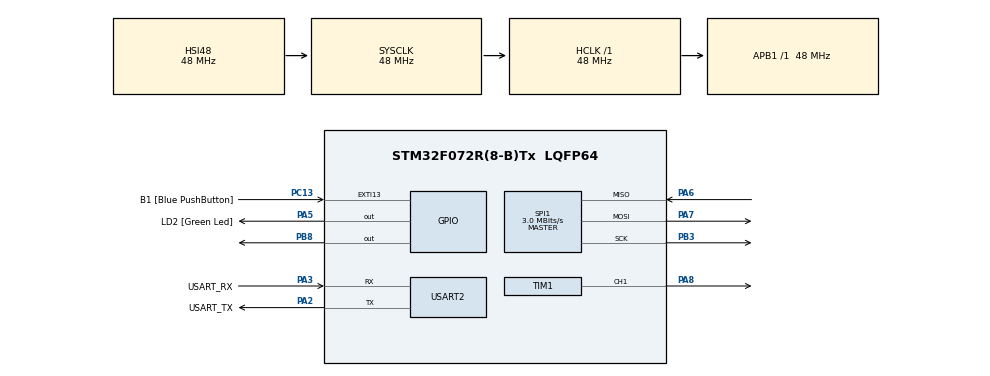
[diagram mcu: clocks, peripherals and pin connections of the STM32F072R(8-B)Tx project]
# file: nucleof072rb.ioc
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Mcu.Family=STM32F0
Mcu.Name=STM32F072R(8-B)Tx
Mcu.Package=LQFP64
PA13.GPIO_Label=TMS
PA13.Mode=Serial_Wire
PA13.Signal=SYS_SWDIO
PA14.GPIO_Label=TCK
PA14.Mode=Serial_Wire
PA14.Signal=SYS_SWCLK
PA2.GPIO_Label=USART_TX
PA2.GPIO_Mode=GPIO_MODE_AF_PP
PA2.GPIO_PuPd=GPIO_NOPULL
PA2.GPIO_Speed=GPIO_SPEED_FREQ_LOW
PA2.Mode=Asynchronous
PA2.Signal=USART2_TX
PA3.GPIO_Label=USART_RX
PA3.GPIO_Mode=GPIO_MODE_AF_PP
PA3.GPIO_PuPd=GPIO_NOPULL
PA3.GPIO_Speed=GPIO_SPEED_FREQ_LOW
PA3.Mode=Asynchronous
PA3.Signal=USART2_RX
PA5.GPIO_Label=LD2 [Green Led]
PA5.GPIO_Mode=GPIO_MODE_OUTPUT_PP
PA5.GPIO_PuPd=GPIO_NOPULL
PA5.GPIO_Speed=GPIO_SPEED_FREQ_LOW
PA5.Signal=GPIO_Output
PA6.Mode=Full_Duplex_Master
PA6.Signal=SPI1_MISO
PA7.Mode=Full_Duplex_Master
PA7.Signal=SPI1_MOSI
PA8.Signal=S_TIM1_CH1
PB3.Mode=Full_Duplex_Master
PB3.Signal=SPI1_SCK
PB8.Signal=GPIO_Output
PC13.GPIO_Label=B1 [Blue PushButton]
PC13.GPIO_ModeDefaultEXTI=GPIO_MODE_IT_FALLING
PC13.Signal=GPXTI13
PC14-OSC32_IN.Mode=LSE-External-Oscillator
PC14-OSC32_IN.Signal=RCC_OSC32_IN
PC15-OSC32_OUT.Mode=LSE-External-Oscillator
PC15-OSC32_OUT.Signal=RCC_OSC32_OUT
PF0-OSC_IN.Mode=HSE-External-Clock-Source
PF0-OSC_IN.Signal=RCC_OSC_IN
PF1-OSC_OUT.Signal=RCC_OSC_OUT
ProjectManager.HeapSize=0x200
ProjectManager.StackSize=0x400
ProjectManager.TargetToolchain=STM32CubeIDE
RCC.AHBFreq_Value=48000000
RCC.APB1Freq_Value=48000000
RCC.APB1TimFreq_Value=48000000
RCC.FLatency-AdvancedSettings=FLASH_LATENCY_1
RCC.HCLKFreq_Value=48000000
RCC.PLLDivider=RCC_PREDIV_DIV2
RCC.PLLMUL=RCC_PLL_MUL12
RCC.PREFETCH_ENABLE-AdvancedSettings=1
RCC.SYSCLKFreq_VALUE=48000000
RCC.SYSCLKSource=RCC_SYSCLKSOURCE_HSI48
SH.S_TIM1_CH1.0=TIM1_CH1,PWM Generation1 CH1
SPI1.BaudRatePrescaler=SPI_BAUDRATEPRESCALER_16
SPI1.CalculateBaudRate=3.0 MBits/s
SPI1.DataSize=SPI_DATASIZE_10BIT
SPI1.Direction=SPI_DIRECTION_2LINES
SPI1.Mode=SPI_MODE_MASTER
SPI1.VirtualType=VM_MASTER
TIM1.Channel-PWM\ Generation1\ CH1=TIM_CHANNEL_1
TIM1.Prescaler=14
USART2.VirtualMode=VM_ASYNC
USART2.VirtualMode-Asynchronous=VM_ASYNC
VP_TIM1_VS_ClockSourceINT.Mode=Internal
board=NUCLEO-F072RB

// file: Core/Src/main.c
/* USER CODE BEGIN Header */
/**
  ******************************************************************************
  * @file           : main.c
  * @brief          : Main program body
  ******************************************************************************
  * @attention
  *
  * <h2><center>&copy; Copyright (c) 2025 STMicroelectronics.
  * All rights reserved.</center></h2>
  *
  * This software component is licensed by ST under BSD 3-Clause license,
  * the "License"; You may not use this file except in compliance with the
  * License. You may obtain a copy of the License at:
  *                        opensource.org/licenses/BSD-3-Clause
  *
  ******************************************************************************
  */
/* USER CODE END Header */
#include "main.h"
#include "spi.h"
#include "tim.h"
#include "usart.h"
#include "gpio.h"

/* USER CODE BEGIN Includes */
#define ADC_MAX_VALUE 1023.0

/* USER CODE END Includes */

/* USER CODE BEGIN PV */
//SPI_HandleTypeDef hspi1;
//TIM_HandleTypeDef htim1;
/* USER CODE END PV */

void SystemClock_Config(void);

/* USER CODE BEGIN 0 */

uint16_t read_adc_value(uint8_t tx_data[], uint8_t rx_data[], int length){

	HAL_GPIO_WritePin(GPIOB, GPIO_PIN_8, GPIO_PIN_RESET);

	    // Transmit and receive data simultaneously
	HAL_StatusTypeDef status = HAL_SPI_TransmitReceive(&hspi1, tx_data, rx_data, length, HAL_MAX_DELAY);
	if (status != HAL_OK) {
		printf("Error: %d", status);
		Error_Handler();
	}
	// Pull CS high to end communication
	HAL_GPIO_WritePin(GPIOB, GPIO_PIN_8, GPIO_PIN_SET);

	// Extract 10-bit result from received data

	return ((rx_data[1] & 0x03) << 8) | rx_data[2];

}
uint16_t adc_to_pwm(uint16_t adc_value){
	uint32_t pwm_min = __HAL_TIM_GET_AUTORELOAD(&htim1) * 0.05;
	uint32_t pwm_max = __HAL_TIM_GET_AUTORELOAD(&htim1) * 0.1;
	uint32_t pwm_value = pwm_min + ((pwm_max - pwm_min) * adc_value) / ADC_MAX_VALUE;

	// the timer "on" counts for PWM signal
	return pwm_value;

}
void set_servo_position(uint16_t pwd_counts){
	__HAL_TIM_SET_COMPARE(&htim1, TIM_CHANNEL_1, pwd_counts);
}
/* USER CODE END 0 */

int main(void)
{
  /* USER CODE BEGIN 1 */
  uint16_t adc_value = 0;
  uint16_t pwm_counts = 0;
  uint8_t tx_data[3] = {0};
  uint8_t rx_data[3] = {0};
  const int LENGTH = 3;

  tx_data[0] = 0x01;  //00000001
  tx_data[1] = 0x01 << 7; //10000000
  tx_data[2] = 0x00; //don'tcare
  /* USER CODE END 1 */

  /* MCU Configuration--------------------------------------------------------*/

  /* Reset of all peripherals, Initializes the Flash interface and the Systick. */
  HAL_Init();

  /* Configure the system clock */
  SystemClock_Config();

  /* Initialize all configured peripherals */
  MX_GPIO_Init();
  MX_USART2_UART_Init();
  MX_SPI1_Init();
  MX_TIM1_Init();
  /* USER CODE BEGIN 2 */

//  HAL_GPIO_WritePin(GPIOA, GPIO_PIN_4, GPIO_PIN_SET);
  HAL_TIM_PWM_Start(&htim1,TIM_CHANNEL_1);

  /* USER CODE END 2 */

  /* Infinite loop */
  while (1)
  {
	  adc_value = read_adc_value(tx_data, rx_data, LENGTH);
	  pwm_counts = adc_to_pwm(adc_value);
	  set_servo_position(pwm_counts);
	  HAL_Delay(10);
  }
}

void SystemClock_Config(void)
{
  RCC_OscInitTypeDef RCC_OscInitStruct = {0};
  RCC_ClkInitTypeDef RCC_ClkInitStruct = {0};
  RCC_PeriphCLKInitTypeDef PeriphClkInit = {0};

  /** Initializes the RCC Oscillators according to the specified parameters
  * in the RCC_OscInitTypeDef structure.
  */
  RCC_OscInitStruct.OscillatorType = RCC_OSCILLATORTYPE_HSI48;
  RCC_OscInitStruct.HSI48State = RCC_HSI48_ON;
  RCC_OscInitStruct.PLL.PLLState = RCC_PLL_NONE;
  if (HAL_RCC_OscConfig(&RCC_OscInitStruct) != HAL_OK)
  {
    Error_Handler();
  }
  /** Initializes the CPU, AHB and APB buses clocks
  */
  RCC_ClkInitStruct.ClockType = RCC_CLOCKTYPE_HCLK|RCC_CLOCKTYPE_SYSCLK
                              |RCC_CLOCKTYPE_PCLK1;
  RCC_ClkInitStruct.SYSCLKSource = RCC_SYSCLKSOURCE_HSI48;
  RCC_ClkInitStruct.AHBCLKDivider = RCC_SYSCLK_DIV1;
  RCC_ClkInitStruct.APB1CLKDivider = RCC_HCLK_DIV1;

  if (HAL_RCC_ClockConfig(&RCC_ClkInitStruct, FLASH_LATENCY_1) != HAL_OK)
  {
    Error_Handler();
  }
  PeriphClkInit.PeriphClockSelection = RCC_PERIPHCLK_USART2;
  PeriphClkInit.Usart2ClockSelection = RCC_USART2CLKSOURCE_PCLK1;
  if (HAL_RCCEx_PeriphCLKConfig(&PeriphClkInit) != HAL_OK)
  {
    Error_Handler();
  }
}

void Error_Handler(void)
{
  __disable_irq();
  while (1)
  {
  }
}

/************************ (C) COPYRIGHT STMicroelectronics *****END OF FILE****/
